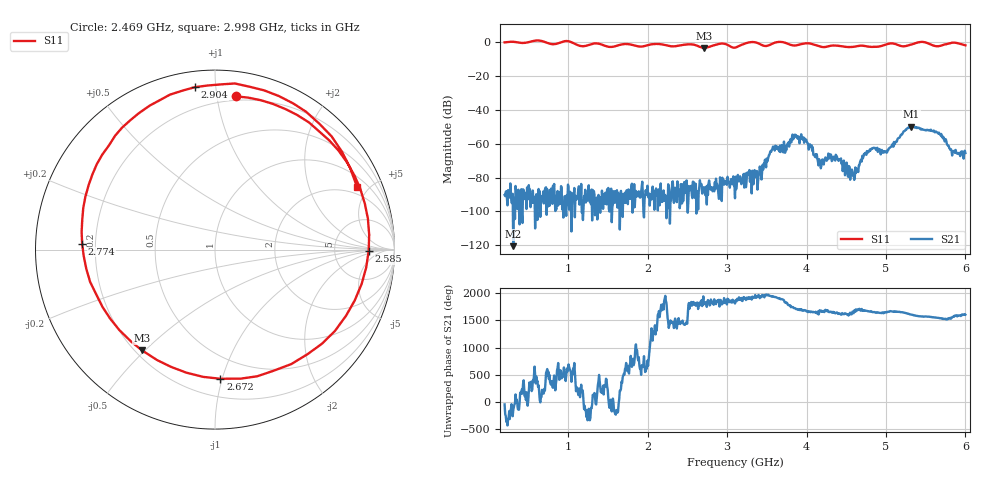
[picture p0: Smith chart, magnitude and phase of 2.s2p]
! NanoVNA-App by OneOfEleven et al v1.1.209 (+OD15)
! Date: 2024-07-30 15:09:40
! Start: 200MHz Stop: 6GHz Points: 801
! S-Parameter data: F S11 S21 S12 S22
# Hz S RI R 50
!  Frequency  S11_Real  S11_Imag  S21_Real  S21_Imag  S12_Real  S12_Imag  S22_Real  S22_Imag
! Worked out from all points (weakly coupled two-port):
!   801 points, 200 MHz to 6 GHz, reference 50 ohm
!   highest |S21| = -49.86 dB at 5.319 GHz (marker M1); lowest = -120.7 dB at 308.8 MHz (marker M2)
!   lowest |S11| = -3.2 dB at 2.708 GHz (marker M3), VSWR 5.52, Z = 11.3 - j24.4 ohm
!   |S11| at or under -10 dB: nowhere
!   S12 and S22 are empty: the file has one direction only
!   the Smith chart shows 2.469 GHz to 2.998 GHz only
!   S11 on the Smith chart (normalised r, x): 2.469 GHz: 0.17, +1.13; 2.585 GHz: 13, -1; 2.672 GHz: 0.33, -0.99; 2.774 GHz: 0.15, +0.02; 2.904 GHz: 0.08, +0.88; 2.998 GHz: 1.50, +4.20
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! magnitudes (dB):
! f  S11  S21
! 200 MHz  0.1  -90.3
! 308.8 MHz  0.4  -120.7
! 1.171 GHz  -2.2  -100.7
! 2.136 GHz  -0.9  -88.8
! 2.469 GHz  -1.3  -89.2
! 2.585 GHz  -1.3  -82.9
! 2.672 GHz  -2.9  -84.3
! 2.708 GHz  -3.2  -85.7
! 2.774 GHz  -2.6  -81.7
! 2.904 GHz  -0.8  -92.4
! 2.998 GHz  -1.3  -84.3
! 3.1 GHz  -3.0  -92.3
! 3.412 GHz  -0.9  -73.5
! 3.564 GHz  -0.8  -63.6
! 3.847 GHz  -1.8  -56.3
! 4.072 GHz  -1.0  -64.1
! 4.166 GHz  -2.3  -70.8
! 4.579 GHz  -2.6  -76.3
! 4.818 GHz  -2.6  -62.8
! 5.036 GHz  -0.7  -62.9
! 5.319 GHz  -1.2  -49.9
! 6 GHz  -1.7  -65.5
